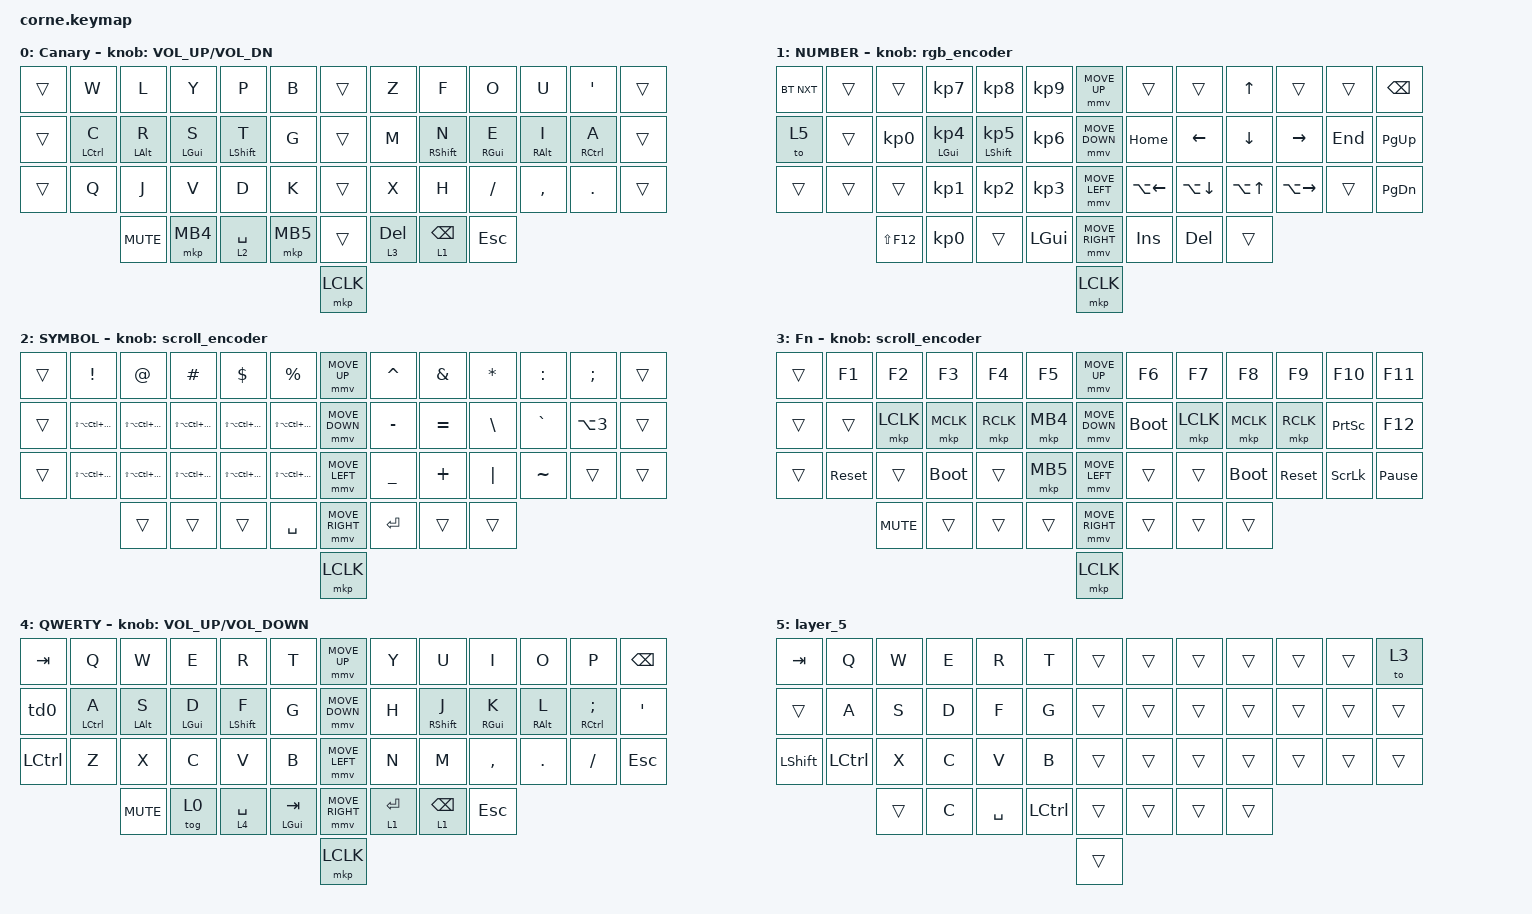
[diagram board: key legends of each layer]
#include <behaviors/mouse_keys.dtsi>
#include <behaviors.dtsi>
#include <dt-bindings/zmk/bt.h>
#include <dt-bindings/zmk/keys.h>
#include <dt-bindings/zmk/mouse.h>
#include <dt-bindings/zmk/rgb.h>

#define ZMK_MOUSE_DEFAULT_MOVE_VAL 1200  // 600
#define ZMK_MOUSE_DEFAULT_SCRL_VAL 20    // 10
#define U_MS_U &mmv MOVE_UP
#define U_MS_D &mmv MOVE_DOWN
#define U_MS_L &mmv MOVE_LEFT
#define U_MS_R &mmv MOVE_RIGHT

/ {
    behaviors {
        td_copy_cut: td_copy_cut {
            compatible = "zmk,behavior-tap-dance";
            label = "TD_COPY_CUT";
            #binding-cells = <0>;
            bindings = <&copy_macro>, <&cut_macro>;

            tapping-term-ms = <200>;
        };

        td0: td0 {
            compatible = "zmk,behavior-tap-dance";
            label = "TD0";
            #binding-cells = <0>;
            bindings = <&kp LEFT_SHIFT>, <&kp CAPS>;
        };

        mmv {
            acceleration-exponent = <1>;      // 1
            time-to-max-speed-ms = <900>;    // 40
            delay-ms = <0>;                   // 0
        };

        msc {
            acceleration-exponent = <1>;      // 0
            time-to-max-speed-ms = <400>;      // 500
            delay-ms = <0>;                   // 10
        };

        hrm: hrm {
            compatible = "zmk,behavior-hold-tap";
            label = "HRM";
            #binding-cells = <2>;
            flavor = "balanced";
            tapping-term-ms = <200>;
            quick-tap-ms = <0>;
            global-quick-tap;
            bindings = <&kp>, <&kp>;
        };
    };

    rgb_encoder: rgb_encoder {
        compatible = "zmk,behavior-sensor-rotate";
        label = "RGB_ENCODER";
        #sensor-binding-cells = <0>;
        bindings = <&rgb_ug RGB_BRI>, <&rgb_ug RGB_BRD>;
    };

    scroll_encoder: scroll_encoder {
        compatible = "zmk,behavior-sensor-rotate";
        #sensor-binding-cells = <0>;
        bindings = <&msc SCRL_DOWN>, <&msc SCRL_UP>;

        tap-ms = <30>;
    };

    combos {
        compatible = "zmk,combos";

        Arrow {
            bindings = <&Arrow>;
            key-positions = <10 11>;
        };

        copy_cut_combo {
            bindings = <&td_copy_cut>;
            key-positions = <28 29>;
        };

        Paste {
            bindings = <&paste_macro>;
            key-positions = <29 30>;
        };

        Undo {
            bindings = <&undo_macro>;
            key-positions = <27 28>;
        };

        CurlyL {
            bindings = <&kp LEFT_BRACE>;
            key-positions = <21 22>;
        };

        Del {
            bindings = <&kp ENTER>;
            key-positions = <21 22 23>;
        };

        ParaL {
            bindings = <&kp LEFT_PARENTHESIS>;
            key-positions = <8 9>;
        };

        SquareL {
            bindings = <&kp LEFT_BRACKET>;
            key-positions = <34 35>;
        };

        SquareR {
            bindings = <&kp RIGHT_BRACKET>;
            key-positions = <35 36>;
        };

        ParaR {
            bindings = <&kp RIGHT_PARENTHESIS>;
            key-positions = <9 10>;
        };

        CurlyR {
            bindings = <&kp RIGHT_BRACE>;
            key-positions = <22 23>;
        };

        Tab {
            bindings = <&kp TAB>;
            key-positions = <15 16 17>;
        };
    };

    macros {
        Arrow: Arrow {
            compatible = "zmk,behavior-macro";
            #binding-cells = <0>;
            bindings = <&kp EQUAL &kp GT>;
            label = "ARROW";
        };

        copy_macro: copy_macro {
            compatible = "zmk,behavior-macro";
            label = "COPY_MACRO";
            #binding-cells = <0>;
            bindings = <&kp LG(C)>;
        };

        cut_macro: cut_macro {
            compatible = "zmk,behavior-macro";
            label = "CUT_MACRO";
            #binding-cells = <0>;
            bindings = <&kp LG(X)>;
        };

        paste_macro: paste_macro {
            compatible = "zmk,behavior-macro";
            label = "PASTE_MACRO";
            #binding-cells = <0>;
            bindings = <&kp LG(V)>;
        };

        undo_macro: undo_macro {
            compatible = "zmk,behavior-macro";
            label = "UNDO_MACRO";
            #binding-cells = <0>;
            bindings = <&kp LG(Z)>;
        };
    };

    keymap {
        compatible = "zmk,keymap";

        layer_4 {
            bindings = <
&trans  &kp W                &kp L            &kp Y            &kp P              &kp B       &trans     &kp Z      &kp F               &kp O             &kp U             &kp APOS              &trans
&trans  &hrm LEFT_CONTROL C  &hrm LEFT_ALT R  &hrm LEFT_GUI S  &hrm LEFT_SHIFT T  &kp G       &trans     &kp M      &hrm RIGHT_SHIFT N  &hrm RIGHT_GUI E  &hrm RIGHT_ALT I  &hrm RIGHT_CONTROL A  &trans
&trans  &kp Q                &kp J            &kp V            &kp D              &kp K       &trans     &kp X      &kp H               &kp FSLH          &kp COMMA         &kp DOT               &trans
                             &kp K_MUTE       &mkp MB4         &lt 2 SPACE        &mkp MB5    &trans     &lt 3 DEL  &lt 1 BACKSPACE     &kp ESC
                                                                                              &mkp LCLK
            >;

            label = "Canary";
            sensor-bindings = <&inc_dec_kp C_VOLUME_UP C_VOL_DN>;
        };

        lower_layer {
            display-name = "NUMBER";

            // -----------------------------------------------------------------------------------------
            // |  TAB |  1  |  2  |  3  |  4  |  5  |   |  6  |  7  |  8  |  9  |  0  | BKSP |
            // | BTCLR| BT1 | BT2 | BT3 | BT4 | BT5 |   | LFT | DWN |  UP | RGT |     |      |
            // | SHFT |     |     |     |     |     |   |     |     |     |     |     |      |
            //                    | GUI |     | SPC |   | ENT |     | ALT |

            bindings = <
&bt BT_NXT  &trans  &trans           &kp KP_NUMBER_7      &kp KP_NUMBER_8              &kp KP_NUMBER_9    &mmv MOVE_UP     &trans              &trans          &kp UP_ARROW      &trans         &trans   &kp BSPC
&to 5       &trans  &kp KP_NUMBER_0  &hrm LEFT_GUI KP_N4  &hrm LEFT_SHIFT KP_NUMBER_5  &kp KP_NUMBER_6    &mmv MOVE_DOWN   &kp HOME            &kp LEFT_ARROW  &kp DOWN_ARROW    &kp RIGHT      &kp END  &kp PG_UP
&trans      &trans  &trans           &kp KP_NUMBER_1      &kp KP_NUMBER_2              &kp KP_NUMBER_3    &mmv MOVE_LEFT   &kp LA(LEFT_ARROW)  &kp LA(DOWN)    &kp LA(UP_ARROW)  &kp LA(RIGHT)  &trans   &kp PG_DN
                    &kp LS(F12)      &kp KP_NUMBER_0      &trans                       &kp LEFT_GUI       &mmv MOVE_RIGHT  &kp INS             &kp DEL         &trans
                                                                                                          &mkp LCLK
            >;

            label = "NUMBER";
            sensor-bindings = <&rgb_encoder>;
        };

        raise_layer {
            display-name = "SYMBOL";

            // -----------------------------------------------------------------------------------------
            // |  TAB |  !  |  @  |  #  |  $  |  %  |   |  ^  |  &  |  *  |  (  |  )  | BKSP |
            // | CTRL |     |     |     |     |     |   |  -  |  =  |  [  |  ]  |  \  |  `   |
            // | SHFT |     |     |     |     |     |   |  _  |  +  |  {  |  }  | "|" |  ~   |
            //                    | GUI |     | SPC |   | ENT |     | ALT |

            bindings = <
&trans  &kp EXCL                 &kp AT                  &kp POUND               &kp DLLR                &kp PRCNT                 &mmv MOVE_UP     &kp CARET  &kp AMPS   &kp ASTERISK   &kp COLON  &kp SEMI          &trans
&trans  &kp LS(LA(LC(LG(F4))))   &kp LS(LA(LC(LG(F3))))  &kp LS(LA(LC(LG(F2))))  &kp LS(LA(LC(LG(F1))))  &kp LS(LA(LC(LG(F5))))    &mmv MOVE_DOWN   &kp MINUS  &kp EQUAL  &kp BACKSLASH  &kp GRAVE  &kp LA(NUMBER_3)  &trans
&trans  &kp LS(LA(LC(LG(F10))))  &kp LS(LA(LC(LG(F9))))  &kp LS(LA(LC(LG(F8))))  &kp LS(LA(LC(LG(F7))))  &kp LS(LA(LC(LG(F6))))    &mmv MOVE_LEFT   &kp UNDER  &kp PLUS   &kp PIPE       &kp TILDE  &trans            &trans
                                 &trans                  &trans                  &trans                  &kp SPACE                 &mmv MOVE_RIGHT  &kp RET    &trans     &trans
                                                                                                                                   &mkp LCLK
            >;

            label = "SYMBOL";
            sensor-bindings = <&scroll_encoder>;
        };

        layer_3 {
            display-name = "Fn";
            bindings = <
&trans  &kp F1      &kp F2      &kp F3       &kp F4     &kp F5      &mmv MOVE_UP     &kp F6       &kp F7     &kp F8       &kp F9      &kp F10          &kp F11
&trans  &trans      &mkp LCLK   &mkp MCLK    &mkp RCLK  &mkp MB4    &mmv MOVE_DOWN   &bootloader  &mkp LCLK  &mkp MCLK    &mkp RCLK   &kp PRINTSCREEN  &kp F12
&trans  &sys_reset  &trans      &bootloader  &trans     &mkp MB5    &mmv MOVE_LEFT   &trans       &trans     &bootloader  &sys_reset  &kp SCROLLLOCK   &kp PAUSE_BREAK
                    &kp C_MUTE  &trans       &trans     &trans      &mmv MOVE_RIGHT  &trans       &trans     &trans
                                                                    &mkp LCLK
            >;

            label = "FN";
            sensor-bindings = <&scroll_encoder>;
        };

        default_layer {
            display-name = "QWERTY";

            // --------------------------------------------------------------------------------
            // |  TAB |  Q  |  W  |  E  |  R  |  T  |                ↑    |  Y  |  U   |  I  |  O  |  P  | BKSP |      &kp UP_ARROW 
            // | SHIFT |  A  |  S  |  D  |  F  |  G  |               ↓    |  H  |  J   |  K  |  L  |  ;  |  '   | 
            // | CTRL |  Z  |  X  |  C  |  V  |  B  |                ←    |  N  |  M   |  ,  |  .  |  /  | ESC  |
            //                    | GUI | LWR | SPC |                →    | ENT | RSE  | ALT |
            //                                                      enter

            bindings = <
&kp TAB    &kp Q               &kp W           &kp E           &kp R             &kp T               &mmv MOVE_UP     &kp Y        &kp U              &kp I            &kp O            &kp P                        &kp BSPC
&td0       &mt LEFT_CONTROL A  &mt LEFT_ALT S  &mt LEFT_GUI D  &mt LEFT_SHIFT F  &kp G               &mmv MOVE_DOWN   &kp H        &mt RIGHT_SHIFT J  &mt RIGHT_GUI K  &mt RIGHT_ALT L  &mt RIGHT_CONTROL SEMICOLON  &kp SQT
&kp LCTRL  &kp Z               &kp X           &kp C           &kp V             &kp B               &mmv MOVE_LEFT   &kp N        &kp M              &kp COMMA        &kp DOT          &kp FSLH                     &kp ESC
                               &kp C_MUTE      &tog 0          &lt 4 SPACE       &mt LEFT_GUI TAB    &mmv MOVE_RIGHT  &lt 1 ENTER  &lt 1 BACKSPACE    &kp ESC
                                                                                                     &mkp LCLK
            >;

            label = "QWERTY";
            sensor-bindings = <&inc_dec_kp C_VOL_UP C_VOLUME_DOWN>;
        };

        layer_5 {
            bindings = <
&kp TAB    &kp Q      &kp W   &kp E  &kp R      &kp T        &trans  &trans  &trans  &trans  &trans  &trans  &to 3
&trans     &kp A      &kp S   &kp D  &kp F      &kp G        &trans  &trans  &trans  &trans  &trans  &trans  &trans
&kp LSHFT  &kp LCTRL  &kp X   &kp C  &kp V      &kp B        &trans  &trans  &trans  &trans  &trans  &trans  &trans
                      &trans  &kp C  &kp SPACE  &kp LCTRL    &trans  &trans  &trans  &trans
                                                             &trans
            >;
        };
    };
};
